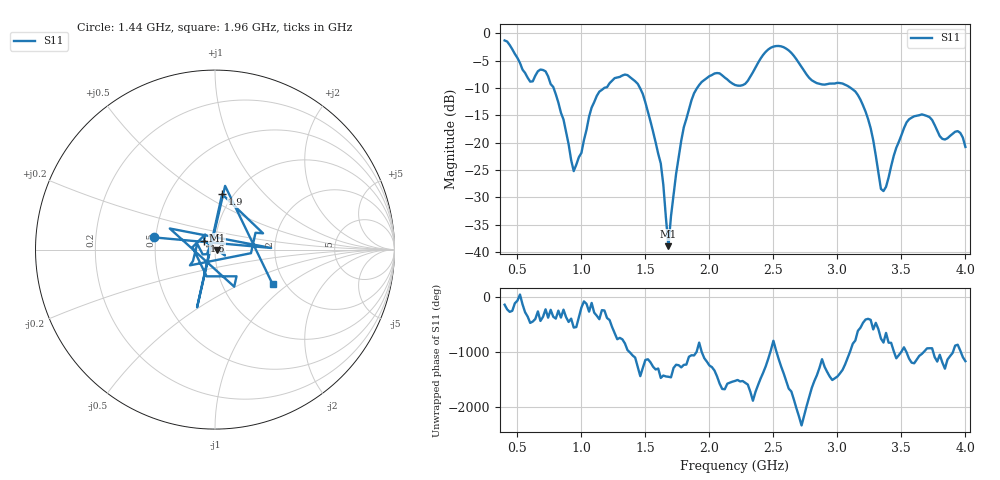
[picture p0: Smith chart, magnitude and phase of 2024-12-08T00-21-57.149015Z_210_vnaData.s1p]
!Created with skrf (http://scikit-rf.org).
# Hz S RI R 50.0
!freq ReS11 ImS11
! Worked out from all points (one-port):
!   181 points, 400 MHz to 4 GHz, reference 50 ohm
!   lowest |S11| = -38.9 dB at 1.68 GHz (marker M1), VSWR 1.02, Z = 51.1 - j0.189 ohm
!   |S11| at or under -10 dB: 782.8 MHz to 1.178 GHz (395.2 MHz wide, 40.3 % of centre); 1.458 GHz to 1.904 GHz (446.2 MHz wide, 26.5 % of centre); 3.105 GHz to end of sweep
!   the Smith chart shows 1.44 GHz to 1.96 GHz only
!   S11 on the Smith chart (normalised r, x): 1.44 GHz: 0.49, +0.08; 1.6 GHz: 0.88, +0.09; 1.9 GHz: 0.89, +0.61; 1.96 GHz: 1.73, -0.77
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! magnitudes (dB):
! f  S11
! 400 MHz  -1.3
! 600 MHz  -8.8
! 720 MHz  -7.0
! 860 MHz  -15.7
! 940 MHz  -25.2
! 1.12 GHz  -11.4
! 1.3 GHz  -8.0
! 1.44 GHz  -9.2
! 1.6 GHz  -22.0
! 1.64 GHz  -27.7
! 1.68 GHz  -38.9
! 1.76 GHz  -22.7
! 1.8 GHz  -17.2
! 1.9 GHz  -10.1
! 1.96 GHz  -8.5
! 2.2 GHz  -9.4
! 2.48 GHz  -2.6
! 2.66 GHz  -4.1
! 2.82 GHz  -8.9
! 3.1 GHz  -9.9
! 3.24 GHz  -15.7
! 3.34 GHz  -28.5
! 3.36 GHz  -28.9
! 3.56 GHz  -15.7
! 3.72 GHz  -15.3
! 3.82 GHz  -19.3
! 3.94 GHz  -17.9
! 4 GHz  -20.8
